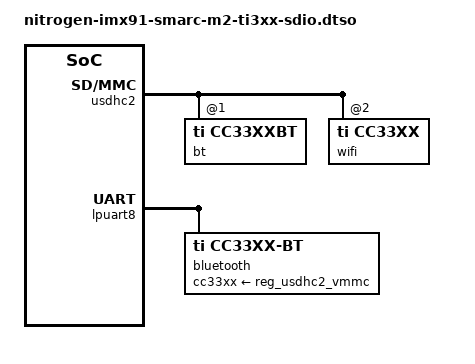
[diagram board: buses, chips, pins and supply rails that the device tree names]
// SPDX-License-Identifier: (GPL-2.0+ OR MIT)
/*
 * SDIO TI3xx module
 *
 * Copyright (C) 2024 Ezurio LLC
 */

/dts-v1/;
/plugin/;

#include <dt-bindings/gpio/gpio.h>

&reg_usdhc2_vmmc {
	vin-supply = <&reg_slow_clock_carrier>;

	startup-delay-us = <10000>;
	off-on-delay-us = <100>;
};

&usdhc2 {
	cap-power-off-card;

	#address-cells = <1>;
	#size-cells = <0>;

	bt@1 {
		reg = <1>;
		compatible = "ti,cc33xxbt";
	};

	wifi@2 {
		reg = <2>;
		compatible = "ti,cc33xx";
	};
};

&lpuart8 {
 	status = "okay";

	bluetooth {
		compatible = "ti,cc33xx-bt";
		cc33xx-supply = <&reg_usdhc2_vmmc>;
		max-speed = <115200>;
	};
};
